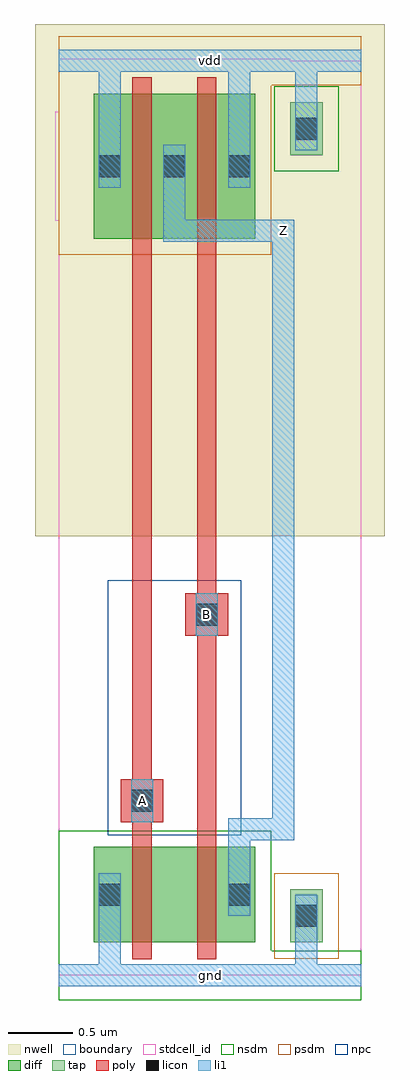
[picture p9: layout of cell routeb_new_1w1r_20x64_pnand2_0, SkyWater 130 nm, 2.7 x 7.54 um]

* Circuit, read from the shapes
.subckt routeb_new_1w1r_20x64_pnand2_0 A B Z gnd vdd
XM1 routeb_new_1w1r_20x64_nmos_m1_w0_740_sli_dactive_2/D A gnd gnd sky130_fd_pr__nfet_01v8 w=0.74 l=0.15
XM2 Z B routeb_new_1w1r_20x64_nmos_m1_w0_740_sli_dactive_2/D gnd sky130_fd_pr__nfet_01v8 w=0.74 l=0.15
XM3 Z A vdd vdd sky130_fd_pr__pfet_01v8 w=1.12 l=0.15
XM4 vdd B Z vdd sky130_fd_pr__pfet_01v8 w=1.12 l=0.15
.ends

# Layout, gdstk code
import gdstk
lib = gdstk.Library(unit=1e-6, precision=1e-09)
def R(c, l, rs):  # rectangles x0, y0, x1, y1
    for r in rs: c.add(gdstk.rectangle(r[:2], r[2:], *l))
nwell = (64, 20)
diff = (65, 20)
tap = (65, 44)
poly = (66, 20)
licon = (66, 44)
li1 = (67, 20)
stdcell_id = (81, 4)
nsdm = (93, 44)
psdm = (94, 20)
npc = (95, 20)
boundary = (235, 4)

routeb_new_1w1r_20x64_co = lib.new_cell('routeb_new_1w1r_20x64_contact_11')
R(routeb_new_1w1r_20x64_co, nwell, [(-0.295,-0.255,0.545,0.585)])
R(routeb_new_1w1r_20x64_co, diff, [(0,0.02,0.25,0.31)])
R(routeb_new_1w1r_20x64_co, licon, [(0.04,0.08,0.21,0.25)])
R(routeb_new_1w1r_20x64_co, li1, [(0.04,0,0.21,0.33)])
R(routeb_new_1w1r_20x64_co, stdcell_id, [(-0.295,-0.255,0.545,0.585)])
R(routeb_new_1w1r_20x64_co, psdm, [(-0.125,-0.105,0.375,0.435)])
R(routeb_new_1w1r_20x64_co, boundary, [(-0.295,-0.255,0.545,0.585)])

routeb_new_1w1r_20x64_pm = lib.new_cell('routeb_new_1w1r_20x64_pmos_m1_w1_120_sli_dli')
R(routeb_new_1w1r_20x64_pm, nwell, [(-0.27,-0.27,1.02,1.39)])
R(routeb_new_1w1r_20x64_pm, diff, [(0,0,0.75,1.12)])
R(routeb_new_1w1r_20x64_pm, poly, [(0.3,-0.13,0.45,1.25), (0.3,-0.13,0.45,1.25)])
R(routeb_new_1w1r_20x64_pm, li1, [(0.04,0.395,0.21,0.725), (0.54,0.395,0.71,0.725)])
R(routeb_new_1w1r_20x64_pm, stdcell_id, [(-0.27,-0.27,1.02,1.39)])
R(routeb_new_1w1r_20x64_pm, psdm, [(-0.125,-0.125,0.875,1.245)])
R(routeb_new_1w1r_20x64_pm, boundary, [(-0.27,-0.27,1.02,1.39)])
routeb_new_1w1r_20x64_pm.add(gdstk.Reference(routeb_new_1w1r_20x64_co, (0,0.395)))
routeb_new_1w1r_20x64_pm.add(gdstk.Reference(routeb_new_1w1r_20x64_co, (0.5,0.395)))
routeb_new_1w1r_20x64_pm.add(gdstk.Label('G', (0.375,0.56), layer=66, texttype=5))
routeb_new_1w1r_20x64_pm.add(gdstk.Label('S', (0.125,0.56), layer=67, texttype=5))
routeb_new_1w1r_20x64_pm.add(gdstk.Label('D', (0.625,0.56), layer=67, texttype=5))

c_routeb_new_1w1r_20x64_co = lib.new_cell('routeb_new_1w1r_20x64_contact_10')
R(c_routeb_new_1w1r_20x64_co, diff, [(0,0.02,0.25,0.31)])
R(c_routeb_new_1w1r_20x64_co, licon, [(0.04,0.08,0.21,0.25)])
R(c_routeb_new_1w1r_20x64_co, li1, [(0.04,0,0.21,0.33)])
R(c_routeb_new_1w1r_20x64_co, stdcell_id, [(-0.125,-0.105,0.375,0.435)])
R(c_routeb_new_1w1r_20x64_co, nsdm, [(-0.125,-0.105,0.375,0.435)])
R(c_routeb_new_1w1r_20x64_co, boundary, [(-0.125,-0.105,0.375,0.435)])

routeb_new_1w1r_20x64_nm = lib.new_cell('routeb_new_1w1r_20x64_nmos_m1_w0_740_sli_dactive')
R(routeb_new_1w1r_20x64_nm, diff, [(0,0,0.75,0.74), (0.55,0.295,0.7,0.445)])
R(routeb_new_1w1r_20x64_nm, poly, [(0.3,-0.13,0.45,0.87), (0.3,-0.13,0.45,0.87)])
R(routeb_new_1w1r_20x64_nm, li1, [(0.04,0.205,0.21,0.535)])
R(routeb_new_1w1r_20x64_nm, stdcell_id, [(-0.125,-0.13,0.875,0.87)])
R(routeb_new_1w1r_20x64_nm, nsdm, [(-0.125,-0.125,0.875,0.865)])
R(routeb_new_1w1r_20x64_nm, boundary, [(-0.125,-0.13,0.875,0.87)])
routeb_new_1w1r_20x64_nm.add(gdstk.Reference(c_routeb_new_1w1r_20x64_co, (0,0.205)))
routeb_new_1w1r_20x64_nm.add(gdstk.Label('G', (0.375,0.37), layer=66, texttype=5))
routeb_new_1w1r_20x64_nm.add(gdstk.Label('S', (0.125,0.37), layer=67, texttype=5))
routeb_new_1w1r_20x64_nm.add(gdstk.Label('D', (0.625,0.37), layer=65, texttype=5))

c_routeb_new_1w1r_20x64_nm = lib.new_cell('routeb_new_1w1r_20x64_nmos_m1_w0_740_sactive_dli')
R(c_routeb_new_1w1r_20x64_nm, diff, [(0,0,0.75,0.74), (0.05,0.295,0.2,0.445)])
R(c_routeb_new_1w1r_20x64_nm, poly, [(0.3,-0.13,0.45,0.87), (0.3,-0.13,0.45,0.87)])
R(c_routeb_new_1w1r_20x64_nm, li1, [(0.54,0.205,0.71,0.535)])
R(c_routeb_new_1w1r_20x64_nm, stdcell_id, [(-0.125,-0.13,0.875,0.87)])
R(c_routeb_new_1w1r_20x64_nm, nsdm, [(-0.125,-0.125,0.875,0.865)])
R(c_routeb_new_1w1r_20x64_nm, boundary, [(-0.125,-0.13,0.875,0.87)])
c_routeb_new_1w1r_20x64_nm.add(gdstk.Reference(c_routeb_new_1w1r_20x64_co, (0.5,0.205)))
c_routeb_new_1w1r_20x64_nm.add(gdstk.Label('G', (0.375,0.37), layer=66, texttype=5))
c_routeb_new_1w1r_20x64_nm.add(gdstk.Label('S', (0.125,0.37), layer=65, texttype=5))
c_routeb_new_1w1r_20x64_nm.add(gdstk.Label('D', (0.625,0.37), layer=67, texttype=5))

c_routeb_new_1w1r_20x64_co_ = lib.new_cell('routeb_new_1w1r_20x64_contact_24')
R(c_routeb_new_1w1r_20x64_co_, nwell, [(-0.295,-0.215,0.545,0.625)])
R(c_routeb_new_1w1r_20x64_co_, tap, [(0,0,0.25,0.41)])
R(c_routeb_new_1w1r_20x64_co_, licon, [(0.04,0.12,0.21,0.29)])
R(c_routeb_new_1w1r_20x64_co_, li1, [(0.04,0.04,0.21,0.37)])
R(c_routeb_new_1w1r_20x64_co_, stdcell_id, [(-0.295,-0.215,0.545,0.625)])
R(c_routeb_new_1w1r_20x64_co_, nsdm, [(-0.125,-0.125,0.375,0.535)])
R(c_routeb_new_1w1r_20x64_co_, boundary, [(-0.295,-0.215,0.545,0.625)])

c_routeb_new_1w1r_20x64_co__ = lib.new_cell('routeb_new_1w1r_20x64_contact_25')
R(c_routeb_new_1w1r_20x64_co__, tap, [(0,0,0.25,0.41)])
R(c_routeb_new_1w1r_20x64_co__, licon, [(0.04,0.12,0.21,0.29)])
R(c_routeb_new_1w1r_20x64_co__, li1, [(0.04,0.04,0.21,0.37)])
R(c_routeb_new_1w1r_20x64_co__, stdcell_id, [(-0.125,-0.125,0.375,0.535)])
R(c_routeb_new_1w1r_20x64_co__, psdm, [(-0.125,-0.125,0.375,0.535)])
R(c_routeb_new_1w1r_20x64_co__, boundary, [(-0.125,-0.125,0.375,0.535)])

c_routeb_new_1w1r_20x64_co___ = lib.new_cell('routeb_new_1w1r_20x64_contact_15')
R(c_routeb_new_1w1r_20x64_co___, poly, [(0,0,0.33,0.33)])
R(c_routeb_new_1w1r_20x64_co___, licon, [(0.08,0.08,0.25,0.25)])
R(c_routeb_new_1w1r_20x64_co___, li1, [(0.08,0,0.25,0.33)])
R(c_routeb_new_1w1r_20x64_co___, stdcell_id, [(-0.1,-0.1,0.43,0.43)])
R(c_routeb_new_1w1r_20x64_co___, npc, [(-0.1,-0.1,0.43,0.43)])
R(c_routeb_new_1w1r_20x64_co___, boundary, [(-0.1,-0.1,0.43,0.43)])

routeb_new_1w1r_20x64_pn = lib.new_cell('routeb_new_1w1r_20x64_pnand2_0')
R(routeb_new_1w1r_20x64_pn, nwell, [(-0.18,3.395,2.52,7.355)])
R(routeb_new_1w1r_20x64_pn, poly, [(0.57,1.125,0.72,5.565), (1.07,1.125,1.22,5.565), (0.57,1.185,0.645,1.515), (1.07,2.625,1.145,2.955)])
R(routeb_new_1w1r_20x64_pn, li1, [(0,-0.085,2.34,0.085), (0.31,-0.085,0.48,0.46), (1.83,0,2,0.46), (1.31,0.79,1.48,1.13), (1.31,1.045,1.48,1.215), (1.395,1.045,1.735,1.215), (1.65,1.045,1.82,1.215), (1.65,1.13,1.82,5.755), (0.56,1.185,0.73,1.515), (1.06,2.625,1.23,2.955), (0.81,5.67,0.98,5.84), (0.895,5.67,1.735,5.84), (1.65,5.67,1.82,5.84), (0.81,5.755,0.98,6.09), (0.31,6.09,0.48,7.155), (1.31,6.09,1.48,7.155), (1.83,6.545,2,7.07), (0,6.985,2.34,7.155)])
R(routeb_new_1w1r_20x64_pn, stdcell_id, [(0,0,2.34,7.07), (0,0,2.34,7.07)])
R(routeb_new_1w1r_20x64_pn, nsdm, [(0,-0.19,2.34,0.19), (0,0,1.645,1.12)])
R(routeb_new_1w1r_20x64_pn, psdm, [(0,5.57,1.645,7.07), (0,6.88,2.34,7.26)])
R(routeb_new_1w1r_20x64_pn, npc, [(0.38,1.085,1.41,3.055)])
R(routeb_new_1w1r_20x64_pn, boundary, [(0,0,2.34,7.07), (0,0,2.34,7.07)])
routeb_new_1w1r_20x64_pn.add(gdstk.Reference(routeb_new_1w1r_20x64_pm, (0.27,5.695)))
routeb_new_1w1r_20x64_pn.add(gdstk.Reference(routeb_new_1w1r_20x64_pm, (0.77,5.695)))
routeb_new_1w1r_20x64_pn.add(gdstk.Reference(routeb_new_1w1r_20x64_nm, (0.27,0.255)))
routeb_new_1w1r_20x64_pn.add(gdstk.Reference(c_routeb_new_1w1r_20x64_nm, (0.77,0.255)))
routeb_new_1w1r_20x64_pn.add(gdstk.Reference(c_routeb_new_1w1r_20x64_co_, (1.79,6.34)))
routeb_new_1w1r_20x64_pn.add(gdstk.Reference(c_routeb_new_1w1r_20x64_co__, (1.79,0.255)))
routeb_new_1w1r_20x64_pn.add(gdstk.Reference(c_routeb_new_1w1r_20x64_co___, (0.48,1.185)))
routeb_new_1w1r_20x64_pn.add(gdstk.Reference(c_routeb_new_1w1r_20x64_co___, (0.98,2.625)))
routeb_new_1w1r_20x64_pn.add(gdstk.Label('Z', (1.735,5.755), layer=67, texttype=5))
routeb_new_1w1r_20x64_pn.add(gdstk.Label('gnd', (1.17,0), layer=67, texttype=5))
routeb_new_1w1r_20x64_pn.add(gdstk.Label('vdd', (1.17,7.07), layer=67, texttype=5))
routeb_new_1w1r_20x64_pn.add(gdstk.Label('A', (0.645,1.35), layer=67, texttype=5))
routeb_new_1w1r_20x64_pn.add(gdstk.Label('B', (1.145,2.79), layer=67, texttype=5))

lib.write_gds('routeb_new_1w1r_20x64_pnand2_0.gds')
